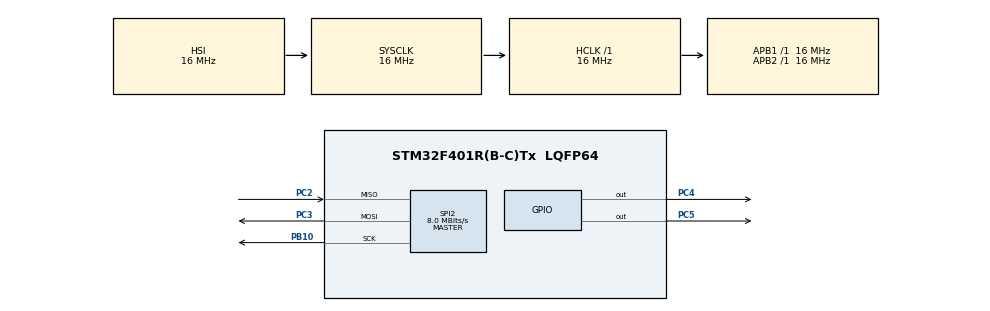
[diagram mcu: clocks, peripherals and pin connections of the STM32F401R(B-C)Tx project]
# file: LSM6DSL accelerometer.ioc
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Mcu.Family=STM32F4
Mcu.Name=STM32F401R(B-C)Tx
Mcu.Package=LQFP64
NVIC.PriorityGroup=NVIC_PRIORITYGROUP_4
PB10.Mode=Full_Duplex_Master
PB10.Signal=SPI2_SCK
PC2.Mode=Full_Duplex_Master
PC2.Signal=SPI2_MISO
PC3.Mode=Full_Duplex_Master
PC3.Signal=SPI2_MOSI
PC4.Signal=GPIO_Output
PC5.Signal=GPIO_Output
ProjectManager.HeapSize=0x200
ProjectManager.StackSize=0x400
ProjectManager.TargetToolchain=STM32CubeIDE
RCC.AHBFreq_Value=16000000
RCC.APB1Freq_Value=16000000
RCC.APB2Freq_Value=16000000
RCC.CortexFreq_Value=16000000
RCC.HSE_VALUE=25000000
RCC.HSI_VALUE=16000000
RCC.LSE_VALUE=32768
RCC.SYSCLKFreq_VALUE=16000000
RCC.VCOOutputFreq_Value=192000000
SPI2.CalculateBaudRate=8.0 MBits/s
SPI2.Direction=SPI_DIRECTION_2LINES
SPI2.Mode=SPI_MODE_MASTER
SPI2.VirtualType=VM_MASTER
board=custom

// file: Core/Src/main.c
/* USER CODE BEGIN Header */
/**
  ******************************************************************************
  * @file           : main.c
  * @brief          : Main program body
  ******************************************************************************
  * @attention
  *
  * Copyright (c) 2023 STMicroelectronics.
  * All rights reserved.
  *
  * This software is licensed under terms that can be found in the LICENSE file
  * in the root directory of this software component.
  * If no LICENSE file comes with this software, it is provided AS-IS.
  *
  ******************************************************************************
  */
/* USER CODE END Header */
#include "main.h"

/* USER CODE BEGIN Includes */
#include "lsm6dsl_reg.h"
#include <string.h>
#include <stdio.h>
/* USER CODE END Includes */

/* USER CODE BEGIN PD */
#define latch()   HAL_GPIO_WritePin(LATCH_GPIO_Port, LATCH_Pin, GPIO_PIN_SET);\
  	HAL_Delay(1);\
  	HAL_GPIO_WritePin(LATCH_GPIO_Port, LATCH_Pin, GPIO_PIN_RESET)
#define LATCH_Pin GPIO_PIN_4
#define LATCH_GPIO_Port GPIOC
#define nOE_Pin GPIO_PIN_5
#define nOE_GPIO_Port GPIOC
#define SRL_Pin GPIO_PIN_4
#define SRL_GPIO_Port GPIOC
#define SRE_Pin GPIO_PIN_5 //nOE
#define SRE_GPIO_Port GPIOC

/* USER CODE END PD */

 SPI_HandleTypeDef hspi2;

/* USER CODE BEGIN PV */
 uint8_t regD= 0b00000110; //состояние сдвиговика // а почему такое?
/* USER CODE END PV */

void SystemClock_Config(void);
static void MX_GPIO_Init(void);
static void MX_SPI2_Init(void);

/* USER CODE BEGIN 0 */
void ACC_ShiftRegs(){
			HAL_GPIO_WritePin(SRE_GPIO_Port, SRE_Pin, 1); //shiftreg 2 HiZ
			uint8_t buf;
			HAL_GPIO_WritePin(SRL_GPIO_Port, SRL_Pin, 0);  //отключаем защёлку

			HAL_SPI_TransmitReceive(&hspi2, &regD, &buf, 1, 5000);  //отправляем данные для сдвигового регистра со светодиодами

			HAL_GPIO_WritePin(SRL_GPIO_Port, SRL_Pin, 1);  //включаем защёлку
			HAL_GPIO_WritePin(SRE_GPIO_Port, SRE_Pin, 0);  //shitfreg вывести из HiZ
}

void ACC_cs(uint8_t flag){
		if(flag==0)
			{
			regD &=~(1<<1);
			//HAL_GPIO_WritePin(NRF_CS_GPIO_Port,NRF_CS_Pin,0);
			}
		else
			{
			regD |= 1<<1;
			//HAL_GPIO_WritePin(NRF_CS_GPIO_Port,NRF_CS_Pin,1);
			}
		ACC_ShiftRegs();
}

void ACC_ce(uint8_t flag){
	/*
		 * Данная функция нужна для управления ножкой CE ACC
		 * Если на вход подаётся 0, то на ножке появляется ноль, если другое число, то единица
		 */

		if(flag==0)
		{
			regD &=~(1<<0);
			//HAL_GPIO_WritePin(NRF_CE_GPIO_Port,NRF_CE_Pin,0);
		}
		else
			{
			regD |= 1<<0;
			//HAL_GPIO_WritePin(NRF_CE_GPIO_Port,NRF_CE_Pin,1);
			}
		ACC_ShiftRegs();
}
/** Please note that is MANDATORY: return 0 -> no Error.**/
#warning please do
int32_t platform_write(void *handle, uint8_t Reg, const uint8_t *Bufp, uint16_t len) {return 0;}
int32_t platform_read(void *handle, uint8_t Reg, uint8_t *Bufp, uint16_t len) {return 0;}
#warning or is this for boards only?

/* USER CODE END 0 */

int main(void)
{

  /* MCU Configuration--------------------------------------------------------*/

  /* Reset of all peripherals, Initializes the Flash interface and the Systick. */
  HAL_Init();

  /* Configure the system clock */
  SystemClock_Config();

  /* Initialize all configured peripherals */
  MX_GPIO_Init();
  MX_SPI2_Init();

  /* Infinite loop */
  while (1)
  {

  }
}

void SystemClock_Config(void)
{
  RCC_OscInitTypeDef RCC_OscInitStruct = {0};
  RCC_ClkInitTypeDef RCC_ClkInitStruct = {0};

  /** Configure the main internal regulator output voltage
  */
  __HAL_RCC_PWR_CLK_ENABLE();
  __HAL_PWR_VOLTAGESCALING_CONFIG(PWR_REGULATOR_VOLTAGE_SCALE2);

  /** Initializes the RCC Oscillators according to the specified parameters
  * in the RCC_OscInitTypeDef structure.
  */
  RCC_OscInitStruct.OscillatorType = RCC_OSCILLATORTYPE_HSI;
  RCC_OscInitStruct.HSIState = RCC_HSI_ON;
  RCC_OscInitStruct.HSICalibrationValue = RCC_HSICALIBRATION_DEFAULT;
  RCC_OscInitStruct.PLL.PLLState = RCC_PLL_NONE;
  if (HAL_RCC_OscConfig(&RCC_OscInitStruct) != HAL_OK)
  {
    Error_Handler();
  }

  /** Initializes the CPU, AHB and APB buses clocks
  */
  RCC_ClkInitStruct.ClockType = RCC_CLOCKTYPE_HCLK|RCC_CLOCKTYPE_SYSCLK
                              |RCC_CLOCKTYPE_PCLK1|RCC_CLOCKTYPE_PCLK2;
  RCC_ClkInitStruct.SYSCLKSource = RCC_SYSCLKSOURCE_HSI;
  RCC_ClkInitStruct.AHBCLKDivider = RCC_SYSCLK_DIV1;
  RCC_ClkInitStruct.APB1CLKDivider = RCC_HCLK_DIV1;
  RCC_ClkInitStruct.APB2CLKDivider = RCC_HCLK_DIV1;

  if (HAL_RCC_ClockConfig(&RCC_ClkInitStruct, FLASH_LATENCY_0) != HAL_OK)
  {
    Error_Handler();
  }
}

static void MX_SPI2_Init(void)
{

  /* SPI2 parameter configuration*/
  hspi2.Instance = SPI2;
  hspi2.Init.Mode = SPI_MODE_MASTER;
  hspi2.Init.Direction = SPI_DIRECTION_2LINES;
  hspi2.Init.DataSize = SPI_DATASIZE_8BIT;
  hspi2.Init.CLKPolarity = SPI_POLARITY_LOW;
  hspi2.Init.CLKPhase = SPI_PHASE_1EDGE;
  hspi2.Init.NSS = SPI_NSS_SOFT;
  hspi2.Init.BaudRatePrescaler = SPI_BAUDRATEPRESCALER_2;
  hspi2.Init.FirstBit = SPI_FIRSTBIT_MSB;
  hspi2.Init.TIMode = SPI_TIMODE_DISABLE;
  hspi2.Init.CRCCalculation = SPI_CRCCALCULATION_DISABLE;
  hspi2.Init.CRCPolynomial = 10;
  if (HAL_SPI_Init(&hspi2) != HAL_OK)
  {
    Error_Handler();
  }

}

static void MX_GPIO_Init(void)
{
  GPIO_InitTypeDef GPIO_InitStruct = {0};

  /* GPIO Ports Clock Enable */
  __HAL_RCC_GPIOC_CLK_ENABLE();
  __HAL_RCC_GPIOB_CLK_ENABLE();

  /*Configure GPIO pin Output Level */
  HAL_GPIO_WritePin(GPIOC, GPIO_PIN_4|GPIO_PIN_5, GPIO_PIN_RESET);

  /*Configure GPIO pins : PC4 PC5 */
  GPIO_InitStruct.Pin = GPIO_PIN_4|GPIO_PIN_5;
  GPIO_InitStruct.Mode = GPIO_MODE_OUTPUT_PP;
  GPIO_InitStruct.Pull = GPIO_NOPULL;
  GPIO_InitStruct.Speed = GPIO_SPEED_FREQ_LOW;
  HAL_GPIO_Init(GPIOC, &GPIO_InitStruct);

}

void Error_Handler(void)
{
  __disable_irq();
  while (1)
  {
  }
}
